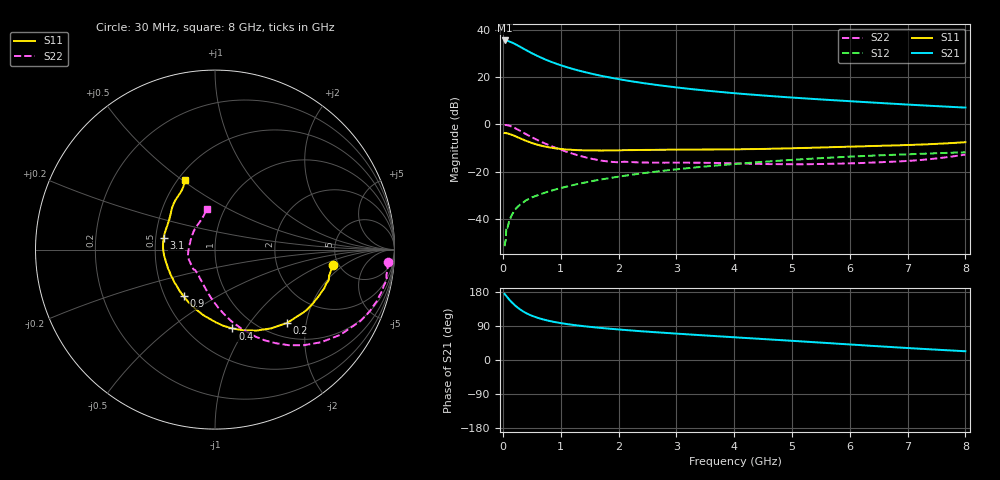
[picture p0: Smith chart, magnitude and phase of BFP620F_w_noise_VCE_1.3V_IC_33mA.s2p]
! Infineon Technologies  Discrete & RF Semiconductors
! BFP620F
! VCE =  1.3 V,  IC =  33 mA
! Common Emitter S-Parameters:  Dec 2014
# GHz  S  MA  R  50
!  f  S11  S21  S12  S22
! GHz  MAG  ANG  MAG  ANG  MAG  ANG  MAG  ANG
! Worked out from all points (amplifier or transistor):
!   95 points, 30 MHz to 8 GHz, reference 50 ohm
!   highest |S21| = 35.4 dB at 30 MHz (marker M1)
!   |S21| within 3 dB of that: start of sweep to 322.3 MHz
!   unconditionally stable (mu >= 1): 2.411 GHz to end of sweep
!   at 300 MHz: K = 0.40, MSG = 33.3 dB, |S12| = -33.8 dB
!   at 3.3 GHz: K = 1.02, MAG = 15.6 dB, |S12| = -18.2 dB
!   at 8 GHz: K = 1.06, MAG = 8.0 dB, |S12| = -11.8 dB
!   lowest NFmin = 1.20 dB at 450 MHz
!   S11 on the Smith chart (normalised r, x): 30 MHz: 4.44, -1.38; 200 MHz: 1.28, -1.56; 400 MHz: 0.79, -0.87; 900 MHz: 0.62, -0.36; 3.1 GHz: 0.55, +0.08; 8 GHz: 0.54, +0.51
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0.03  0.6606 -7.6  58.79 174.5  0.0027 89.9  0.9643 -4.0
0.07  0.6475 -17.3  58.05 166.9  0.0067 82.2  0.9614 -12.1
0.11  0.6271 -26.5  56.03 159.5  0.0097 78.8  0.9366 -19.6
0.15  0.6045 -35.4  53.67 152.9  0.0119 74.8  0.8999 -26.5
0.2  0.5729 -45.5  50.14 145.5  0.0153 73.9  0.8437 -34.3
0.25  0.5385 -54.6  46.61 138.9  0.018 69.5  0.7851 -41.1
0.3  0.5068 -62.9  43.14 133.2  0.0204 67.2  0.7272 -47.1
0.35  0.477 -70.6  39.8 128.3  0.0225 66.4  0.6722 -52.4
0.4  0.4498 -77.6  36.87 123.9  0.025 65.1  0.6218 -57.0
0.5  0.405 -89.4  31.71 117.0  0.0288 63.7  0.5364 -64.9
0.6  0.3713 -100.1  27.6 111.3  0.032 63.3  0.4656 -71.4
0.7  0.3462 -108.9  24.32 106.9  0.0353 63.1  0.4095 -77.1
0.9  0.3129 -123.9  19.47 100.1  0.0421 63.1  0.3245 -86.7
1.1  0.2945 -136.0  16.14 95.0  0.0486 63.2  0.2646 -95.6
1.4  0.2843 -150.4  12.81 89.2  0.0587 63.0  0.2059 -108.3
2  0.2832 -170.5  9.003 80.6  0.0789 61.6  0.1586 -134.4
2.7  0.2909 174.1  6.684 72.7  0.1025 58.6  0.1556 -153.1
3.1  0.2937 167.2  5.83 68.7  0.1157 56.6  0.1555 -160.2
4.1  0.2984 152.6  4.441 59.0  0.149 50.7  0.1495 -174.7
5.4  0.3229 139.3  3.417 46.8  0.1908 41.7  0.1455 159.7
6.7  0.3576 126.5  2.744 34.4  0.2265 32.0  0.1623 131.8
8  0.4212 113.5  2.258 23.0  0.2577 22.4  0.2302 101.0
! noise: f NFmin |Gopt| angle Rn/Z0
0.45  1.2  0.08  -172  0.17
0.9  1.23  0.09  -171  0.13
1.5  1.24  0.14  -149  0.13
1.8  1.25  0.14  -148  0.14
1.9  1.26  0.15  -148  0.14
2.4  1.28  0.15  215  0.16
3.5  1.34  0.16  -140  0.18
5.5  1.49  0.23  243  0.14
6  1.53  0.24  260  0.17
